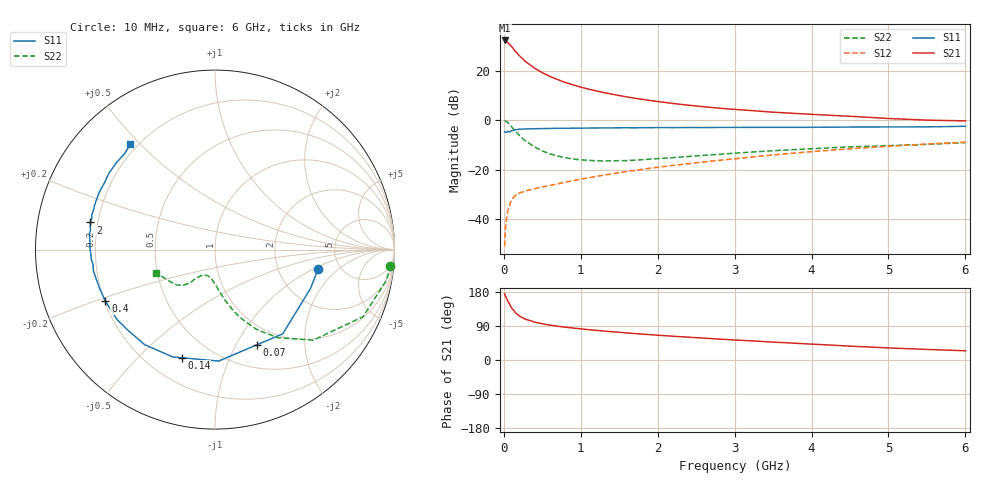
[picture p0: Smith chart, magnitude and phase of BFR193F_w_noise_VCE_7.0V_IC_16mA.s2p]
! Infineon Technologies  Discrete & RF Semiconductors
! BFR193F
! VCE =  7.0 V,  IC =  16 mA
! Common Emitter S-Parameters:  Jan 2017
# GHz  S  MA  R  50
!  f  S11  S21  S12  S22
! GHz  MAG  ANG  MAG  ANG  MAG  ANG  MAG  ANG
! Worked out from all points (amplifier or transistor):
!   77 points, 10 MHz to 6 GHz, reference 50 ohm
!   highest |S21| = 32.1 dB at 10 MHz (marker M1)
!   |S21| within 3 dB of that: start of sweep to 115.1 MHz
!   unconditionally stable (mu >= 1): 1.373 GHz to 2.778 GHz
!   at 130 MHz: K = 0.24, MSG = 29.8 dB, |S12| = -31.0 dB
!   at 2.2 GHz: K = 1.03, MAG = 11.4 dB, |S12| = -18.2 dB
!   at 6 GHz: K = 0.82, MSG = 4.3 dB, |S12| = -8.9 dB
!   lowest NFmin = 0.97 dB at 450 MHz
!   S11 on the Smith chart (normalised r, x): 10 MHz: 3.43, -1.10; 70 MHz: 0.77, -1.22; 140 MHz: 0.34, -0.68; 400 MHz: 0.20, -0.21; 2 GHz: 0.17, +0.10; 6 GHz: 0.17, +0.47
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0.01  0.5848 -10.4  40.4 175.0  0.0029 88.9  0.9818 -5.2
0.02  0.5746 -22.2  39.67 169.5  0.0065 82.2  0.9701 -10.2
0.05  0.6023 -51.2  37.09 155.6  0.0144 70.6  0.9055 -24.4
0.07  0.5797 -66.1  34.06 149.1  0.0185 63.2  0.8312 -30.9
0.1  0.6214 -88.1  30.53 137.1  0.0249 56.8  0.7442 -42.7
0.14  0.6302 -107.1  25.64 127.8  0.0293 50.8  0.627 -51.9
0.15  0.6429 -111.6  24.54 124.9  0.0304 49.6  0.6008 -54.7
0.2  0.6587 -126.5  20.11 116.5  0.034 45.7  0.4987 -62.7
0.25  0.6616 -137.3  16.8 110.6  0.036 43.8  0.4186 -68.4
0.3  0.6706 -144.6  14.42 106.3  0.0383 44.2  0.3642 -72.7
0.4  0.6747 -154.8  11.14 99.8  0.0417 44.6  0.2878 -78.8
0.5  0.6781 -161.2  9.041 95.5  0.0454 47.0  0.2407 -83.2
0.7  0.6878 -170.1  6.565 89.1  0.0521 51.6  0.19 -90.5
0.9  0.6913 -175.6  5.143 84.3  0.0606 55.9  0.1651 -96.5
1.1  0.6949 -179.7  4.232 80.1  0.0692 59.2  0.1558 -101.8
1.5  0.7036 173.9  3.136 73.1  0.088 64.2  0.153 -111.0
2  0.7111 167.7  2.38 65.4  0.1124 67.7  0.168 -119.0
2.1  0.7098 166.7  2.275 64.1  0.1175 68.2  0.172 -119.8
3.1  0.7165 157.4  1.61 51.8  0.1731 70.2  0.222 -126.3
4.1  0.7209 148.0  1.289 40.9  0.2386 68.7  0.2704 -133.0
5.1  0.7322 137.5  1.066 31.1  0.305 64.1  0.3108 -146.1
6  0.754 128.7  0.968 24.3  0.3601 59.0  0.3545 -158.9
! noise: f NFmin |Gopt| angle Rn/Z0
0.45  0.97  0.28  157  0.06
0.9  1.06  0.38  161  0.06
1.9  1.7  0.58  -173  0.06
2.4  2  0.61  -163  0.09
